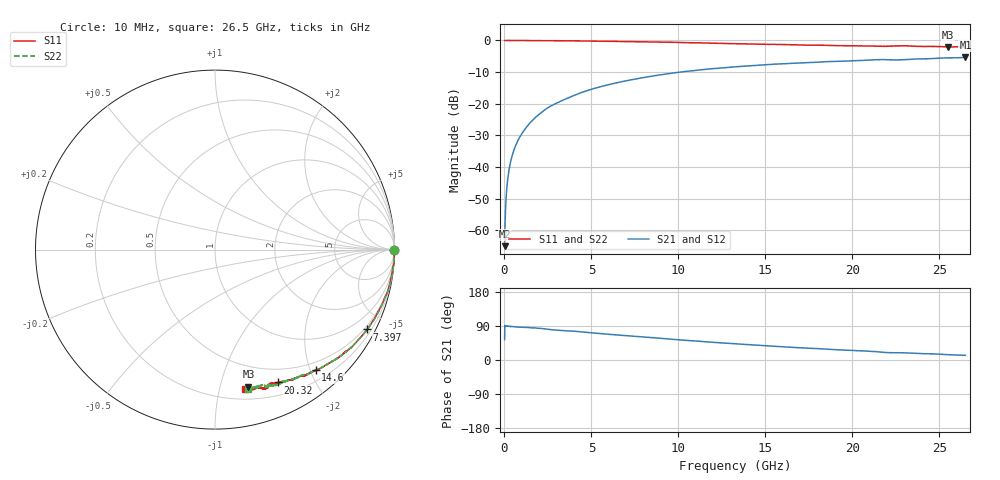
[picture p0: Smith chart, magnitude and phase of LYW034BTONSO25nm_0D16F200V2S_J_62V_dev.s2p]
!Keysight Technologies,N5222B,MY61253708,A.15.00.15
!Date: Wednesday, June 19, 2024 09:13:55
!Correction: S11(C  2-Port  )
!S21(C  2-Port  )
!S12(C  2-Port  )
!S22(C  2-Port  )
!S2P File: Measurements: S11, S21, S12, S22:
# Hz S  RI  R 50
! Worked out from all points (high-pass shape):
!   2651 points, 10 MHz to 26.5 GHz, reference 50 ohm
!   highest |S21| = -5.34 dB at 26.5 GHz (marker M1); lowest = -65.0 dB at 10 MHz (marker M2)
!   |S21| within 3 dB of the highest: 13.23 GHz to end of sweep
!   lowest |S11| = -2.1 dB at 25.5 GHz (marker M3), VSWR 8.36, Z = 15.3 - j61.3 ohm
!   |S11| at or under -10 dB: nowhere
!   |S22| runs from -2.0 to 0.0 dB; largest |S21 - S12| = 0.0067
!   S11 on the Smith chart (normalised r, x): 10 MHz: open; 7.397 GHz: 0.38, -4.02; 14.6 GHz: 0.36, -2.08; 20.32 GHz: 0.34, -1.53; 26.5 GHz: 0.28, -1.20
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1e7  0.9988 -0.00232  0.000333 0.000456  0.000251 0.000435  0.999 -0.000779
6.997736e7  1 -0.00527  5.07e-05 0.00237  1.22e-05 0.00244  0.9997 -0.00487
1.699396e8  0.9999 -0.0122  7.54e-05 0.00582  7.47e-05 0.00586  0.9996 -0.0114
2.199208e8  0.9998 -0.0156  0.000119 0.00751  0.000149 0.00756  0.9993 -0.0148
2.898943e8  0.9998 -0.0206  0.000197 0.00989  0.000172 0.00994  0.9996 -0.0197
3.998528e8  0.9991 -0.0281  0.000418 0.0136  0.000413 0.0138  0.9992 -0.0268
5.298038e8  0.9989 -0.0365  0.000662 0.018  0.00067 0.0182  0.9989 -0.0357
8.896679e8  0.9975 -0.0613  0.00179 0.03  0.00179 0.0303  0.9969 -0.0597
1.489442e9  0.9898 -0.1028  0.00434 0.0506  0.0044 0.0509  0.9926 -0.0991
2.359113e9  0.9805 -0.1576  0.0111 0.081  0.0114 0.0816  0.982 -0.1572
3.208792e9  0.968 -0.2127  0.0225 0.1068  0.0227 0.1075  0.9686 -0.2111
4.428332e9  0.9389 -0.2868  0.0408 0.1451  0.0413 0.146  0.941 -0.2833
5.767826e9  0.9012 -0.3602  0.07 0.1806  0.0712 0.1817  0.9043 -0.3592
7.397211e9  0.8473 -0.4451  0.1105 0.2152  0.1119 0.2162  0.85 -0.4423
8.846664e9  0.7928 -0.5092  0.1515 0.2397  0.1531 0.2405  0.7953 -0.5065
1.3255e10  0.6127 -0.6461  0.281 0.2607  0.2834 0.2605  0.618 -0.6438
1.460449e10  0.5605 -0.6722  0.3162 0.2557  0.3179 0.2553  0.5657 -0.6677
1.767333e10  0.4383 -0.7207  0.3865 0.2293  0.3902 0.2277  0.4511 -0.718
2.032233e10  0.3519 -0.7402  0.4377 0.2006  0.4402 0.1967  0.3678 -0.7406
2.209166e10  0.304 -0.7492  0.4673 0.1652  0.4694 0.1622  0.3003 -0.7559
2.550038e10  0.1863 -0.7639  0.5148 0.1272  0.5165 0.127  0.2085 -0.7683
2.65e10  0.1679 -0.7787  0.5281 0.1163  0.5275 0.1125  0.1825 -0.7785
